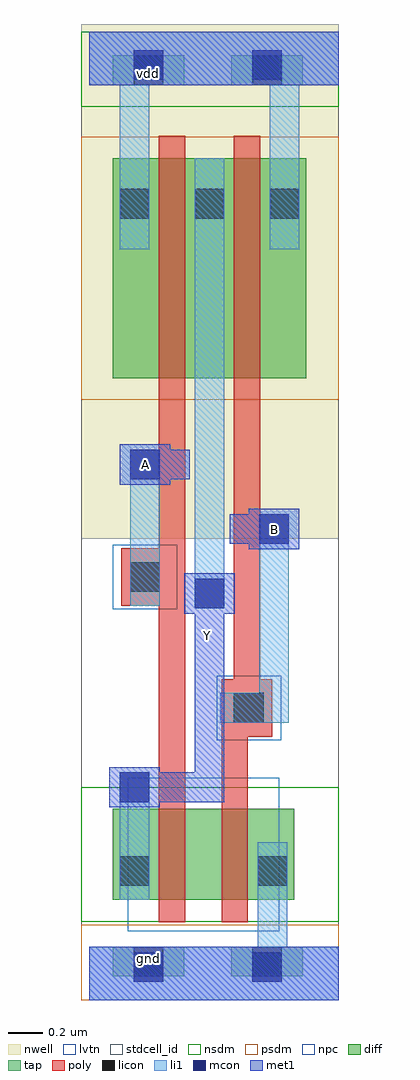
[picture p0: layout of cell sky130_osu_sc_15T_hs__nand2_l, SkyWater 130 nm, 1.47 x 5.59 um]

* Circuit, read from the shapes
.subckt sky130_osu_sc_15T_hs__nand2_l A B Y gnd vdd
XM1 n1 A Y gnd sky130_fd_pr__nfet_01v8_lvt w=0.52 l=0.15
XM2 gnd B n1 gnd sky130_fd_pr__nfet_01v8_lvt w=0.52 l=0.15
XM3 Y A vdd vdd sky130_fd_pr__pfet_01v8 w=1.26 l=0.15
XM4 vdd B Y vdd sky130_fd_pr__pfet_01v8 w=1.26 l=0.15
.ends

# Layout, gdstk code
import gdstk
lib = gdstk.Library(unit=1e-6, precision=1e-09)
def R(c, l, rs):  # rectangles x0, y0, x1, y1
    for r in rs: c.add(gdstk.rectangle(r[:2], r[2:], *l))
def A(c, l, x, y, w, h, nx, ny, dx, dy):  # array of equal rectangles
    R(c, l, [(x+i*dx, y+j*dy, x+i*dx+w, y+j*dy+h) for i in range(nx) for j in range(ny)])
nwell = (64, 20)
diff = (65, 20)
tap = (65, 44)
poly = (66, 20)
licon = (66, 44)
li1 = (67, 20)
mcon = (67, 44)
met1 = (68, 20)
stdcell_id = (81, 4)
nsdm = (93, 44)
psdm = (94, 20)
npc = (95, 20)
lvtn = (125, 44)

sky130_osu_sc_15t_hs__na = lib.new_cell('sky130_osu_sc_15T_hs__nand2_l')
R(sky130_osu_sc_15t_hs__na, nwell, [(-0.045,2.645,1.43,5.595)])
R(sky130_osu_sc_15t_hs__na, diff, [(0.135,0.575,1.175,1.095), (0.135,3.565,1.245,4.825)])
R(sky130_osu_sc_15t_hs__na, tap, [(0.135,0.135,0.545,0.305), (0.815,0.135,1.225,0.305), (0.135,5.245,0.545,5.415), (0.815,5.245,1.225,5.415)])
R(sky130_osu_sc_15t_hs__na, poly, [(0.4,0.445,0.55,2.26), (0.76,0.445,0.91,1.51), (0.76,1.51,1.05,1.84), (0.83,1.84,0.98,4.955), (0.185,2.26,0.55,2.59), (0.4,2.59,0.55,4.955)])
A(sky130_osu_sc_15t_hs__na, licon, 0.175, 4.48, 0.17, 0.17, 3, 1, 0.43, 0)
R(sky130_osu_sc_15t_hs__na, licon, [(0.255,0.135,0.425,0.305), (0.935,0.135,1.105,0.305), (0.175,0.655,0.345,0.825), (0.965,0.655,1.135,0.825), (0.83,1.59,1,1.76), (0.235,2.34,0.405,2.51), (0.255,5.245,0.425,5.415), (0.935,5.245,1.105,5.415)])
R(sky130_osu_sc_15t_hs__na, li1, [(0,0,1.43,0.305), (0.965,0.305,1.135,0.905), (0.175,0.575,0.345,1.305), (0.75,1.59,1.145,1.76), (0.975,1.76,1.145,2.785), (0.605,2.245,0.775,4.825), (0.235,2.26,0.405,3.155), (0.175,4.305,0.345,5.245), (1.035,4.305,1.205,5.245), (0,5.245,1.43,5.55)])
R(sky130_osu_sc_15t_hs__na, mcon, [(0.255,0.105,0.425,0.275), (0.935,0.105,1.105,0.275), (0.175,1.135,0.345,1.305), (0.605,2.245,0.775,2.415), (0.975,2.615,1.145,2.785), (0.235,2.985,0.405,3.155), (0.255,5.275,0.425,5.445), (0.935,5.275,1.105,5.445)])
R(sky130_osu_sc_15t_hs__na, met1, [(0,0,1.43,0.305), (0.115,1.105,0.405,1.135), (0.115,1.135,0.775,1.305), (0.115,1.305,0.405,1.335), (0.605,1.305,0.775,2.215), (0.545,2.215,0.835,2.445), (0.915,2.585,1.205,2.615), (0.805,2.615,1.205,2.785), (0.915,2.785,1.205,2.815), (0.175,2.955,0.465,2.985), (0.175,2.985,0.575,3.155), (0.175,3.155,0.465,3.185), (0,5.245,1.43,5.55)])
R(sky130_osu_sc_15t_hs__na, stdcell_id, [(-0.045,0,1.43,5.55)])
R(sky130_osu_sc_15t_hs__na, nsdm, [(-0.045,0.45,1.43,1.22), (-0.045,5.12,1.43,5.55)])
R(sky130_osu_sc_15t_hs__na, psdm, [(-0.045,0,1.43,0.43), (-0.045,3.44,1.43,4.95)])
R(sky130_osu_sc_15t_hs__na, npc, [(0.73,1.49,1.1,1.86), (0.135,2.24,0.505,2.61)])
R(sky130_osu_sc_15t_hs__na, lvtn, [(0.22,0.395,1.09,1.275)])
sky130_osu_sc_15t_hs__na.add(gdstk.Label('gnd', (0.34,0.24), layer=68, texttype=16))
sky130_osu_sc_15t_hs__na.add(gdstk.Label('vdd', (0.34,5.31), layer=68, texttype=16))
sky130_osu_sc_15t_hs__na.add(gdstk.Label('Y', (0.68,2.09), layer=68, texttype=5))
sky130_osu_sc_15t_hs__na.add(gdstk.Label('B', (1.06,2.7), layer=68, texttype=5))
sky130_osu_sc_15t_hs__na.add(gdstk.Label('A', (0.32,3.07), layer=68, texttype=5))

lib.write_gds('sky130_osu_sc_15T_hs__nand2_l.gds')
